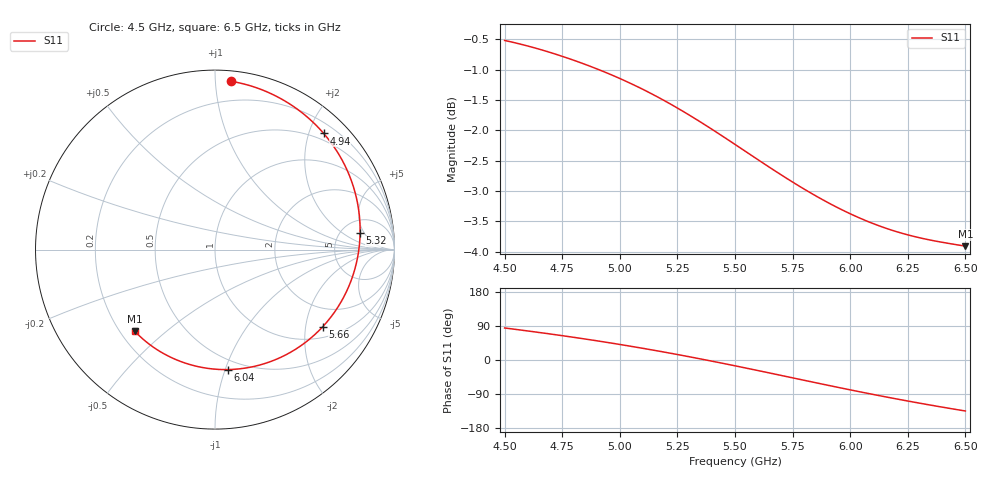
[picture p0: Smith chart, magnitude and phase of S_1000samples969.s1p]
! TOUCHSTONE file generated by CST MICROWAVE STUDIO
! Date and time: Sat Oct 29 23:05:19 2022
! Project name: L.cst
! Parameters = {Di=1.27; Epsilon_r=1.56; InnerDiameter=1.27; Length=2; Lf=10; Lg=60; OuterConductorThickness=0.2921; OuterDiameter=3.6; Wf=3; Wp=41.2; de=1.5; df=6.8; g=0.8; gx=1.73607; gy=2.6264; h=2.34; hf=1.524; px=9.17957; py=9.92764; w=9.7; wx=7.44351; wy=7.30124}
! Header version: 2018
! Port assignment regex: !\s*Touchstone port\s*([0-9]+)\s*=\s*(CST MWS port|CST DS port)\s*([0-9]+|Zmin|Zmax)\s*\(\"(.*)\"\)(\s*mode\s*([0-9]+))?.*
! Touchstone port assignment:
! Touchstone port 1 = CST MWS port 1 ("")
# GHz S DB R 50
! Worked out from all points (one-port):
!   101 points, 4.5 GHz to 6.5 GHz, reference 50 ohm
!   lowest |S11| = -3.9 dB at 6.5 GHz (marker M1), VSWR 4.52, Z = 12.9 - j19.7 ohm
!   |S11| at or under -10 dB: nowhere
!   S11 on the Smith chart (normalised r, x): 4.5 GHz: 0.07, +1.10; 4.94 GHz: 0.37, +2.25; 5.32 GHz: 7.53, +4.04; 5.66 GHz: 1.32, -2.50; 6.04 GHz: 0.42, -1.02; 6.5 GHz: 0.26, -0.39
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4.5  -0.52 84.5
4.58  -0.59 78.3
4.64  -0.65 73.4
4.7  -0.72 68.5
4.76  -0.79 63.3
4.86  -0.93 54.4
4.94  -1.05 46.9
5  -1.15 41.0
5.08  -1.29 32.9
5.14  -1.40 26.6
5.2  -1.53 20.0
5.26  -1.66 13.3
5.32  -1.79 6.4
5.4  -1.98 -3.1
5.44  -2.08 -7.9
5.5  -2.23 -15.3
5.58  -2.44 -25.4
5.66  -2.64 -35.5
5.76  -2.88 -48.4
5.82  -3.01 -56.1
5.88  -3.14 -63.7
5.94  -3.27 -71.3
6  -3.38 -78.8
6.04  -3.45 -83.7
6.14  -3.60 -95.7
6.26  -3.74 -109.4
6.38  -3.83 -122.3
6.5  -3.91 -134.6
